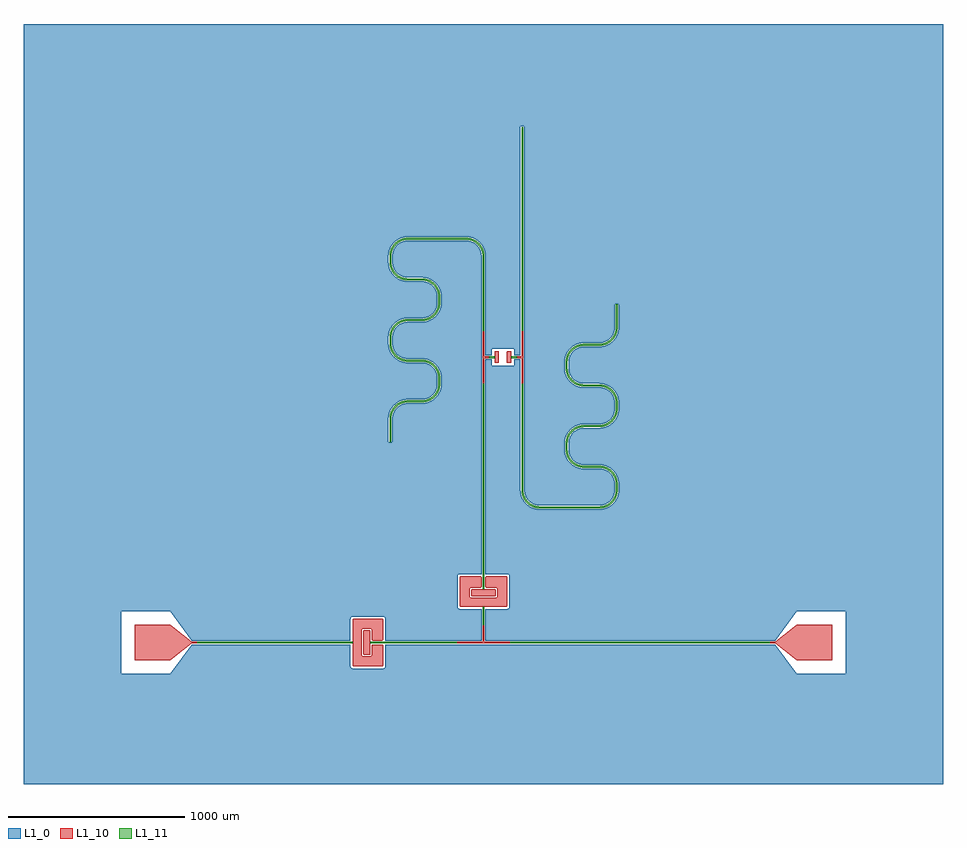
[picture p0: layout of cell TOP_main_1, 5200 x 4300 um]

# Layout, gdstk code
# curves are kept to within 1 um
import gdstk
lib = gdstk.Library(unit=1e-6, precision=1e-09)
def R(c, l, rs):  # rectangles x0, y0, x1, y1
    for r in rs: c.add(gdstk.rectangle(r[:2], r[2:], *l))
def P(c, l, *ps):  # polygons
    for p in ps: c.add(gdstk.Polygon(p, *l))
L1_0 = (1, 0)
L1_10 = (1, 10)
L1_11 = (1, 11)

ground_main_1 = lib.new_cell('ground_main_1')
R(ground_main_1, L1_0, [(-518.719,-800,-491.847,-11), (-491.847,-800,-445.47,-11), (-445.47,-800,-308.285,-11), (-308.285,-800,-263.265,-11), (-263.265,-800,-69.572,-11), (-69.572,-800,173.264,-11), (173.264,-800,467.953,-11), (467.953,-800,507.269,-11), (507.269,-800,569,-11), (569,-800,703.86,-11), (703.86,-800,739.002,-11), (-69.572,11,-11,190), (467.953,11,507.269,754), (507.269,11,569,754), (-308.285,2296,-263.265,3500)])
P(ground_main_1, L1_0, [(739.754,840.369),(741.545,848.138),(742.826,858.687),(742.986,896),(741.984,909.241),(739.002,922.18),(739.002,837.82)],
  [(-517.014,2250.173),(-505.455,2263.782),(-491.847,2275.341),(-491.847,3500),(-518.719,3500),(-518.719,2247.731)],
  [(-491.847,2246.211),(-502.982,2231.526),(-509.955,2217.205),(-514.232,2201.862),(-515.674,2186),(-515.513,2148.687),(-513.117,2132.94),(-505.594,2113.104),(-491.847,2093.789)],
  [(-517.014,1790.173),(-505.455,1803.782),(-491.847,1815.341),(-491.847,2064.659),(-507.533,2078.353),(-518.719,2092.269),(-518.719,1787.731)],
  [(-491.847,1786.211),(-502.982,1771.526),(-509.955,1757.205),(-514.232,1741.862),(-515.674,1726),(-515.513,1688.687),(-513.117,1672.94),(-505.594,1653.104),(-491.847,1633.789)],
  [(-517.014,1330.173),(-505.455,1343.782),(-491.847,1355.341),(-491.847,1604.659),(-507.533,1618.353),(-518.719,1632.269),(-518.719,1327.731)],
  [(-491.847,1326.211),(-506.793,1304.524),(-511.689,1292.18),(-514.672,1279.241),(-515.674,1135),(-518.719,1135),(-518.719,11),(-491.847,11)],
  [(-489.404,2277.046),(-468.389,2288.187),(-445.47,2294.551),(-445.47,3500),(-491.847,3500),(-491.847,2275.341)],
  [(-445.47,2272.174),(-458.879,2268.281),(-470.904,2262.649),(-481.945,2255.272),(-491.847,2246.211),(-491.847,2093.789),(-481.945,2084.728),(-470.904,2077.351),(-458.879,2071.719),(-445.47,2067.826)],
  [(-489.404,1817.046),(-468.389,1828.187),(-445.47,1834.551),(-445.47,2045.449),(-468.389,2051.813),(-491.847,2064.659),(-491.847,1815.341)],
  [(-445.47,1812.174),(-458.879,1808.281),(-470.904,1802.649),(-481.945,1795.272),(-491.847,1786.211),(-491.847,1633.789),(-481.945,1624.728),(-470.904,1617.351),(-458.879,1611.719),(-445.47,1607.826)],
  [(-489.404,1357.046),(-468.389,1368.187),(-445.47,1374.551),(-445.47,1585.449),(-468.389,1591.813),(-491.847,1604.659),(-491.847,1355.341)],
  [(-445.47,1352.174),(-458.879,1348.281),(-470.904,1342.649),(-481.945,1335.272),(-491.847,1326.211),(-491.847,11),(-445.47,11)],
  [(-442.524,2294.993),(-439.567,2295.355),(-436.601,2295.637),(-433.629,2295.839),(-430.652,2295.96),(-427.674,2296),(-308.285,2296),(-308.285,3500),(-445.47,3500),(-445.47,2294.551)],
  [(-308.285,2274),(-427.674,2274),(-445.47,2272.174),(-445.47,2067.826),(-430.332,2066.04),(-340.073,2065.637),(-322.453,2062.749),(-308.285,2058.187)],
  [(-442.524,1834.993),(-341.036,1836.361),(-325.369,1839.232),(-308.285,1845.989),(-308.285,2034.011),(-325.369,2040.768),(-341.036,2043.639),(-430.652,2044.04),(-445.47,2045.449),(-445.47,1834.551)],
  [(-308.285,1821.813),(-322.453,1817.251),(-340.073,1814.363),(-430.332,1813.96),(-445.47,1812.174),(-445.47,1607.826),(-430.332,1606.04),(-340.073,1605.637),(-322.453,1602.749),(-308.285,1598.187)],
  [(-442.524,1374.993),(-341.036,1376.361),(-325.369,1379.232),(-308.285,1385.989),(-308.285,1574.011),(-325.369,1580.768),(-341.036,1583.639),(-430.652,1584.04),(-445.47,1585.449),(-445.47,1374.551)],
  [(-308.285,1361.813),(-322.453,1357.251),(-340.073,1354.363),(-430.332,1353.96),(-445.47,1352.174),(-445.47,11),(-308.285,11)],
  [(-263.265,2274),(-308.285,2274),(-308.285,2058.187),(-284.827,2045.341),(-273.353,2035.86),(-263.265,2024.916)],
  [(-308.104,1846.08),(-294.729,1854.728),(-283.131,1865.645),(-273.691,1878.474),(-265.814,1895.294),(-263.265,1904.21),(-263.265,1975.79),(-269.88,1994.524),(-279.728,2010.271),(-292.661,2023.601),(-308.285,2034.011)],
  [(-263.265,1855.084),(-273.353,1844.14),(-284.827,1834.659),(-308.285,1821.813),(-308.285,1598.187),(-284.827,1585.341),(-273.353,1575.86),(-263.265,1564.916)],
  [(-308.104,1386.08),(-294.729,1394.728),(-283.131,1405.645),(-273.691,1418.474),(-265.814,1435.294),(-263.265,1444.21),(-263.265,1515.79),(-269.88,1534.524),(-279.728,1550.271),(-292.661,1563.601),(-308.285,1574.011)],
  [(-263.265,1395.084),(-273.353,1384.14),(-284.827,1374.659),(-308.285,1361.813),(-308.285,11),(-263.265,11)],
  [(-69.572,3500),(-263.265,3500),(-263.265,2296),(-96.021,2295.96),(-69.572,2291.99)],
  [(-69.572,190),(-137.341,190.231),(-144.276,194.387),(-147,202),(-146.087,379.592),(-141.667,384.978),(-136.176,386.942),(-69.572,387),(-69.572,2268.925),(-83.138,2272.559),(-96.342,2273.96),(-263.265,2274),(-263.265,2024.916),(-253.245,2010.138),(-245.747,1993.933),(-240.449,1973.796),(-239,1956),(-239.161,1918.045),(-242.251,1897.453),(-250.454,1875.126),(-263.265,1855.084),(-263.265,1564.916),(-253.245,1550.138),(-245.747,1533.933),(-240.449,1513.796),(-239,1496),(-239.161,1458.045),(-242.251,1437.453),(-250.454,1415.126),(-263.265,1395.084),(-263.265,11),(-69.572,11)],
  [(-262.96,1905.53),(-261.642,1913.393),(-261.04,1921.342),(-261,1956),(-261.642,1966.607),(-263.265,1975.79),(-263.265,1904.21)],
  [(-262.96,1445.53),(-261.642,1453.393),(-261.04,1461.342),(-261,1496),(-261.642,1506.607),(-263.265,1515.79),(-263.265,1444.21)],
  [(46.5,1661.5),(48.5,1663.5),(171.5,1663.5),(173.264,1662.443),(173.264,3500),(-69.572,3500),(-69.572,2291.99),(-55.533,2287.047),(-42.289,2280.254),(-27.788,2269.838),(-17.121,2259.457),(-7.954,2247.731),(-0.454,2234.874),(5.242,2221.123),(9.029,2206.729),(11,2186),(11,1626),(46.5,1626)],
  [(-11,387),(-11.04,2188.658),(-12.441,2201.862),(-15.814,2214.706),(-21.08,2226.896),(-28.12,2238.154),(-36.775,2248.225),(-46.846,2256.88),(-69.572,2268.925),(-69.572,387)],
  [(173.264,1567.557),(171.5,1566.5),(48.11,1566.538),(46.5,1568.5),(46.5,1604),(11,1604),(11,387),(136.176,386.942),(144.276,382.613),(147,375),(147,202),(144.978,195.333),(140.657,191.417),(135,190),(11,190),(11,11),(173.264,11)],
  [(467.953,1050.533),(461.572,1070.353),(459,1094),(459.645,1137.893),(462.251,1152.547),(467.953,1169.467),(467.953,1510.533),(461.572,1530.353),(459,1554),(459.645,1597.893),(462.251,1612.547),(467.953,1629.467),(467.953,3500),(173.264,3500),(173.5,1626),(209,1626),(209,2921),(231,2921),(231.642,853.393),(234.232,840.369),(238.753,827.884),(251.399,807.661),(269.01,791.577),(280.476,784.88),(292.82,779.985),(316.342,776.04),(467.953,776)],
  [(467.953,754),(316.021,754.04),(301.204,755.449),(286.713,758.845),(262.289,769.746),(243.353,784.14),(226.316,804.758),(214.758,828.877),(210.449,846.204),(209,864),(209,1604),(173.5,1604),(173.264,11),(467.953,11)],
  [(469.167,1632.188),(476.316,1645.242),(485.162,1657.212),(495.543,1667.879),(507.269,1677.046),(507.269,3500),(467.953,3500),(467.953,1629.467)],
  [(507.269,1648.705),(496.577,1635.99),(487.699,1619.676),(482.441,1601.862),(481,1586),(481.161,1548.687),(484.232,1530.369),(493.691,1508.474),(507.269,1491.295)],
  [(469.167,1172.188),(476.316,1185.242),(485.162,1197.212),(495.543,1207.879),(507.269,1217.046),(507.269,1462.954),(495.543,1472.121),(485.162,1482.788),(474.746,1497.289),(467.953,1510.533),(467.953,1169.467)],
  [(507.269,1188.705),(496.577,1175.99),(487.699,1159.676),(482.441,1141.862),(481,1126),(481.161,1088.687),(484.232,1070.369),(493.691,1048.474),(507.269,1031.295)],
  [(507.269,1002.954),(495.543,1012.121),(485.162,1022.788),(474.746,1037.289),(467.953,1050.533),(467.953,776),(507.269,776)],
  [(509.758,1678.684),(522.812,1685.833),(536.713,1691.155),(551.204,1694.551),(569,1696),(569,3500),(507.269,3500),(507.269,1677.046)],
  [(569,1674),(553.138,1672.559),(535.324,1667.301),(521.22,1659.899),(507.269,1648.705),(507.269,1491.295),(521.22,1480.101),(535.324,1472.699),(553.138,1467.441),(569,1466)],
  [(509.758,1218.684),(522.812,1225.833),(536.713,1231.155),(551.204,1234.551),(569,1236),(569,1444),(551.204,1445.449),(536.713,1448.845),(520.126,1455.454),(507.269,1462.954),(507.269,1217.046)],
  [(569,1214),(553.138,1212.559),(535.324,1207.301),(521.22,1199.899),(507.269,1188.705),(507.269,1031.295),(521.22,1020.101),(535.324,1012.699),(553.138,1007.441),(569,1006)],
  [(569,984),(551.204,985.449),(536.713,988.845),(520.126,995.454),(507.269,1002.954),(507.269,776),(569,776)],
  [(654.986,1696),(668.227,1697.002),(681.166,1699.985),(703.86,1710.832),(703.86,3500),(569,3500),(569,1696)],
  [(703.86,1685.454),(684.414,1678.01),(663.914,1674.363),(569,1674),(569,1466),(663.914,1465.637),(684.414,1461.99),(703.86,1454.546)],
  [(654.986,1236),(668.227,1237.002),(681.166,1239.985),(703.86,1250.832),(703.86,1429.168),(686.191,1438.281),(665.593,1443.358),(569,1444),(569,1236)],
  [(703.86,1225.454),(684.414,1218.01),(663.914,1214.363),(569,1214),(569,1006),(663.914,1005.637),(684.414,1001.99),(703.86,994.546)],
  [(657.644,776.04),(681.166,779.985),(703.86,790.832),(703.86,969.168),(686.191,978.281),(665.593,983.358),(569,984),(569,776)],
  [(703.86,765.454),(684.414,758.01),(663.914,754.363),(569,754),(569,11),(703.86,11)],
  [(704.976,1711.577),(717.212,1721.775),(725.866,1731.846),(734.106,1745.476),(739.002,1757.82),(739.002,3500),(703.86,3500),(703.86,1710.832)],
  [(739.002,1713.002),(723.902,1698.265),(703.86,1685.454),(703.86,1454.546),(723.902,1441.735),(739.002,1426.998)],
  [(704.976,1251.577),(717.212,1261.775),(725.866,1271.846),(734.106,1285.476),(739.002,1297.82),(739.002,1382.18),(734.106,1394.524),(725.866,1408.154),(715.304,1420.076),(703.86,1429.168),(703.86,1250.832)],
  [(739.002,1253.002),(723.902,1238.265),(703.86,1225.454),(703.86,994.546),(723.902,981.735),(739.002,966.998)],
  [(704.976,791.577),(717.212,801.775),(725.866,811.846),(734.106,825.476),(739.002,837.82),(739.002,922.18),(734.106,934.524),(725.866,948.154),(715.304,960.076),(703.86,969.168),(703.86,790.832)],
  [(739.002,793.002),(723.902,778.265),(703.86,765.454),(703.86,11),(739.002,11)],
  [(740.429,1762.94),(742.946,1781.342),(742.986,1915),(764.986,1915),(763.979,1769.15),(760.977,1754.572),(756.034,1740.533),(749.24,1727.289),(739.002,1713.002),(739.002,1426.998),(750.742,1410.138),(758.239,1393.933),(763.537,1373.796),(764.986,1356),(764.825,1318.045),(761.735,1297.453),(753.532,1275.126),(739.002,1253.002),(739.002,966.998),(753.532,944.874),(761.735,922.547),(764.825,901.955),(764.986,864),(763.537,846.204),(758.239,826.067),(750.742,809.862),(739.002,793.002),(739.002,11),(1650,11),(1772,176.5),(2048.5,176.5),(2048.5,-176.5),(1772,-176.5),(1650,-11),(739.002,-11),(739.002,-800),(2600,-800),(2600,3500),(739.002,3500),(739.002,1757.82)],
  [(739.754,1300.369),(741.545,1308.138),(742.826,1318.687),(742.986,1356),(741.984,1369.241),(739.002,1382.18),(739.002,1297.82)],
  [(-518.719,-11),(-555.5,-11),(-555.558,-136.176),(-559.015,-143.485),(-566.324,-146.942),(-740.5,-147),(-747.167,-144.978),(-751.083,-140.657),(-752.5,-135),(-752.5,-11),(-1650,-11),(-1772,-176.5),(-2048.5,-176.5),(-2048.5,176.5),(-1772,176.5),(-1650,11),(-752.5,11),(-752.5,135),(-751.083,140.657),(-747.167,144.978),(-740.5,147),(-566.324,146.942),(-559.015,143.485),(-555.558,136.176),(-555.5,11),(-518.719,11),(-518.719,1135),(-537.674,1135),(-537.512,1271.955),(-534.422,1292.547),(-527.507,1312.188),(-2600,1312.188),(-2600,-800),(-518.719,-800)],
  [(-526.22,1314.874),(-518.719,1327.731),(-518.719,1632.269),(-529.861,1653.285),(-535.703,1673.271),(-537.633,1691.021),(-537.674,1726),(-536.225,1743.796),(-532.828,1758.287),(-526.22,1774.874),(-518.719,1787.731),(-518.719,2092.269),(-529.861,2113.285),(-535.703,2133.271),(-537.633,2151.021),(-537.674,2186),(-536.225,2203.796),(-532.828,2218.287),(-526.22,2234.874),(-518.719,2247.731),(-518.719,3500),(-2600,3500),(-2600,1312.188),(-527.507,1312.188)])

top_main_1 = lib.new_cell('TOP_main_1')
P(top_main_1, L1_10, [(-1650,5),(-1772,100),(-1972,100),(-1972,-100),(-1772,-100),(-1650,-5),(-1620,-5),(-1620,5),(-1650,5)],
  [(1650,-5),(1772,-100),(1972,-100),(1972,100),(1772,100),(1650,5),(1620,5),(1620,-5),(1650,-5)],
  [(-672.5,-70),(-678.157,-67.657),(-680.461,-62.784),(-680.346,63.561),(-678.157,67.657),(-674.061,69.846),(-645.939,69.846),(-641.316,67.075),(-639.5,62),(-639.654,-63.561),(-641.843,-67.657),(-645.939,-69.846)],
  [(-575.402,-134.995),(-569.989,-132.789),(-567.505,-127.098),(-567.505,-18.902),(-570.583,-12.699),(-575.598,-11),(-627.44,-12.046),(-631.471,-18.412),(-631.5,-70),(-633.316,-75.075),(-638.716,-77.961),(-680.5,-78),(-686.157,-75.657),(-688.461,-70.784),(-688.5,-11),(-740.5,-11),(-740.5,-126.902),(-737.417,-133.301),(-732.402,-135)],
  [(-688.5,70),(-686.157,75.657),(-681.284,77.961),(-635.729,77.055),(-631.539,70.784),(-631.495,18.902),(-629.289,13.489),(-623.598,11.005),(-571.906,11.861),(-568.747,14.724),(-567.505,18.902),(-568.361,130.594),(-571.224,133.753),(-575.598,135),(-736.094,134.139),(-739.253,131.276),(-740.495,127.098),(-740.5,-11),(-688.5,-11)],
  [(150,-5),(-150,-5),(-150,5),(-5,5),(-5,100),(5,100),(5,5),(150,5),(150,-5)],
  [(70,270),(67.657,264.343),(62.784,262.039),(-63.561,262.154),(-67.657,264.343),(-69.846,268.439),(-69.846,296.561),(-67.075,301.184),(-62,303),(63.561,302.846),(67.657,300.657),(69.846,296.561)],
  [(11,254),(-70.784,254.039),(-75.657,256.343),(-77.846,260.439),(-77.961,303.784),(-75.075,309.184),(-70,311),(-18.412,311.029),(-12.046,315.06),(-11.005,367.098),(-14.083,373.301),(-19.098,375),(-126.902,375),(-133.301,371.917),(-135,366.902),(-135,210.098),(-131.917,203.699),(-126.902,202),(11,202)],
  [(127.098,202.005),(132.511,204.211),(134.995,209.902),(135,366.902),(133.753,371.276),(130.94,373.954),(126.902,375),(19.098,375),(14.724,373.753),(11.005,367.098),(12.046,315.06),(18.412,311.029),(70,311),(75.075,309.184),(77.961,303.784),(78,262),(75.657,256.343),(70.784,254.039),(11,254),(11,202)],
  [(-5,1465),(-5,1765),(5,1765),(5,1620),(32.5,1620),(32.5,1610),(5,1610),(5,1465),(-5,1465)],
  [(187.5,1620),(215,1620),(215,1765),(225,1765),(225,1465),(215,1465),(215,1610),(187.5,1610),(187.5,1620)],
  [(64.5,1582.5),(62.5,1584.5),(62.586,1646.081),(64.304,1647.49),(86.081,1647.414),(87.5,1645.5),(87.414,1583.919),(85.696,1582.51)],
  [(134.5,1582.5),(132.5,1584.5),(132.586,1646.081),(134.304,1647.49),(156.081,1647.414),(157.5,1645.5),(157.414,1583.919),(155.696,1582.51)])
R(top_main_1, L1_11, [(-1620,-5,-792.5,5), (-792.5,-5,-740.499,5), (-639.501,-5,-527.5,5), (-527.5,-5,-150,5), (150,-5,1620,5), (-5,100,5,150), (-5,150,5,202.001), (-5,302.999,5,415), (-5,415,5,1465), (215,1009.999,225,1226.076), (215,1226.076,225,1443.065), (215,1443.065,225,1465), (32.5,1610,52.5,1620), (52.5,1610,62.501,1620), (157.499,1610,167.5,1620), (167.5,1610,187.5,1620), (-5,1765,5,1824.365), (215,1765,225,2915), (-5,1824.365,5,2040.001)])
P(top_main_1, L1_11, [(-521.674,1266),(-518.471,1290.329),(-509.08,1313),(-494.142,1332.468),(-474.674,1347.406),(-457.241,1355.229),(-438.586,1359.364),(-343.271,1360.158),(-317.954,1364.742),(-299.501,1372.535),(-282.885,1383.721),(-268.721,1397.885),(-257.456,1414.652),(-268.995,1414.652),(-278.78,1401.509),(-290.698,1390.265),(-304.388,1381.261),(-319.433,1374.771),(-343.534,1370.159),(-430.539,1369.961),(-447.612,1368.071),(-464.14,1363.397),(-479.674,1356.067),(-491.552,1348.071),(-504.189,1336.437),(-514.739,1322.883),(-522.914,1307.776),(-528.491,1291.53),(-531.318,1274.588),(-531.674,1135),(-521.674,1135)],
  [(-256.206,1417.041),(-248.924,1435.701),(-245.631,1452.559),(-245,1496),(-246.418,1513.118),(-250.635,1529.769),(-258.933,1548),(-270.573,1564.302),(-282.885,1576.279),(-304.615,1590.053),(-317.954,1595.258),(-331.882,1598.582),(-346.134,1599.961),(-433.139,1600.159),(-449.352,1602.534),(-466.794,1608.535),(-486.934,1608.535),(-464.14,1596.603),(-441.958,1590.986),(-346.266,1589.96),(-329.992,1588.058),(-309.274,1581.193),(-288.578,1568.008),(-278.78,1558.491),(-268.995,1545.348),(-261.641,1530.705),(-256.942,1515.008),(-255.04,1498.734),(-255.636,1453.087),(-259.771,1434.433),(-268.995,1414.652),(-257.456,1414.652)],
  [(-467.4,1608.807),(-485.976,1620.265),(-501.409,1635.698),(-512.867,1654.274),(-519.732,1674.992),(-521.634,1691.266),(-520.681,1739.624),(-515.032,1760.705),(-504.674,1779.916),(-494.142,1792.468),(-479.328,1804.536),(-464.905,1812.312),(-449.352,1817.466),(-430.408,1819.96),(-343.271,1820.158),(-319.22,1824.365),(-461.442,1824.365),(-477.172,1817.465),(-491.552,1808.071),(-502.219,1798.519),(-513.139,1785.26),(-519.139,1775.499),(-525.071,1762.466),(-530.688,1740.285),(-531.634,1691.134),(-528.491,1668.47),(-524.029,1654.864),(-517.74,1642),(-509.744,1630.122),(-500.193,1619.455),(-486.934,1608.535)],
  [(-317.954,1824.742),(-304.615,1829.947),(-292.117,1836.935),(-280.698,1845.573),(-270.573,1855.698),(-261.935,1867.117),(-254.947,1879.615),(-248.924,1895.701),(-245.986,1909.715),(-245.158,1961.729),(-249.742,1987.046),(-256.206,2002.959),(-265.2,2017.592),(-276.481,2030.545),(-287.69,2040.001),(-306.813,2040.001),(-286.509,2026.22),(-270.464,2007.654),(-259.771,1985.567),(-255.159,1961.466),(-255.04,1921.266),(-256.942,1904.992),(-263.807,1884.274),(-275.265,1865.698),(-284.493,1855.627),(-297.346,1845.464),(-311.769,1837.688),(-327.322,1832.534),(-346.266,1830.04),(-433.403,1829.842),(-447.612,1828.071),(-461.442,1824.365)],
  [(-289.74,2041.465),(-309.864,2052.355),(-329.062,2058.071),(-346.134,2059.961),(-438.586,2060.636),(-462.379,2066.641),(-481.59,2077),(-492.18,2085.627),(-501.409,2095.698),(-510.413,2109.388),(-516.005,2121.85),(-520.246,2137.677),(-521.634,2151.266),(-521.515,2191.466),(-518.871,2208.743),(-529.157,2208.743),(-531.516,2191.729),(-531.634,2151.134),(-530.255,2136.882),(-526.932,2122.954),(-520.468,2107.041),(-511.473,2092.408),(-500.193,2079.455),(-486.934,2068.535),(-464.14,2056.603),(-441.958,2050.986),(-343.534,2049.841),(-324.671,2046.797),(-306.813,2040.001),(-287.69,2040.001)],
  [(5,2186),(2.483,2208.743),(-7.803,2208.743),(-5.04,2188.734),(-5,2040.001),(5,2040.001)],
  [(1.818,2211.53),(-2.645,2225.136),(-8.933,2238),(-16.929,2249.878),(-26.481,2260.545),(-37.408,2269.8),(-49.501,2277.465),(-65.231,2284.365),(-79.062,2288.071),(-99,2290),(-427.674,2290),(-444.792,2288.582),(-461.442,2284.365),(-477.172,2277.465),(-491.552,2268.071),(-504.189,2256.437),(-514.739,2242.883),(-524.029,2225.136),(-529.157,2208.743),(-518.871,2208.743),(-512.867,2225.726),(-504.674,2239.916),(-494.142,2252.468),(-481.59,2263),(-469.861,2270.001),(-457.241,2275.229),(-441.297,2279.008),(-427.674,2280),(-85.376,2279.008),(-61.769,2272.312),(-40.698,2259.735),(-30.627,2250.507),(-20.464,2237.654),(-12.688,2223.231),(-7.803,2208.743),(2.483,2208.743)],
  [(657.852,760.039),(674.924,761.929),(691.452,766.603),(706.986,773.933),(721.101,783.721),(733.413,795.698),(743.586,809.538),(751.342,824.864),(756.469,841.257),(746.184,841.257),(740.179,824.274),(731.986,810.084),(721.454,797.532),(708.902,787),(697.173,779.999),(684.553,774.771),(668.61,770.992),(654.986,770),(319,770),(302.677,771.428),(279.274,778.807),(258.578,791.992),(248.78,801.509),(238.995,814.652),(232.688,826.769),(227.803,841.257),(217.517,841.257),(221.603,827.534),(228.933,812),(236.929,800.122),(246.481,789.455),(257.408,780.2),(269.501,772.535),(285.231,765.635),(299.062,761.929),(319,760)],
  [(227.534,842.322),(225.04,861.266),(225,1009.999),(215,1009.999),(215.355,855.412),(217.517,841.257),(227.803,841.257)],
  [(757.057,844.062),(758.947,861.134),(758.947,898.866),(757.568,913.118),(754.244,927.046),(747.781,942.959),(737.057,959.878),(725.423,972.515),(711.869,983.065),(691.452,993.397),(669.271,999.014),(563.534,1000.159),(544.671,1003.203),(526.813,1009.999),(507.69,1009.999),(529.864,997.645),(551.882,991.418),(566.134,990.039),(665.899,989.364),(687.136,984.331),(706.64,974.536),(719.493,964.373),(728.721,954.302),(736.393,943),(742.345,930.705),(747.044,915.008),(748.946,898.734),(748.827,858.534),(746.184,841.257),(756.469,841.257)],
  [(524.388,1011.261),(508.578,1021.992),(493.6,1037.867),(482.688,1056.769),(476.428,1077.677),(475,1094),(475.04,1128.734),(476.428,1142.323),(483.807,1165.726),(495.265,1184.302),(506.509,1196.22),(519.652,1206.005),(534.295,1213.359),(549.992,1218.058),(566.266,1219.96),(660.715,1220.158),(674.924,1221.929),(689.984,1226.076),(540.701,1226.076),(524.615,1220.053),(509.74,1211.465),(496.481,1200.545),(486.929,1189.878),(473.76,1167.776),(466.418,1143.118),(465.039,1128.866),(465.039,1091.134),(467.517,1071.257),(471.603,1057.534),(477.535,1044.501),(485.2,1032.408),(494.455,1021.481),(507.69,1009.999),(526.813,1009.999)],
  [(691.452,1226.603),(704.485,1232.535),(716.579,1240.2),(727.505,1249.455),(737.057,1260.122),(745.053,1272),(751.342,1284.864),(755.804,1298.47),(758.631,1315.412),(758.631,1364.588),(756.469,1378.743),(752.383,1392.466),(745.053,1408),(737.057,1419.878),(725.423,1432.515),(711.869,1443.065),(690.4,1443.065),(701.986,1437.406),(713.288,1429.735),(723.359,1420.507),(730.386,1412.133),(736.393,1403),(742.345,1390.705),(746.452,1377.678),(748.628,1364.193),(748.946,1321.266),(747.044,1304.992),(740.179,1284.274),(728.721,1265.698),(717.477,1253.78),(704.334,1243.995),(689.692,1236.641),(673.995,1231.942),(657.72,1230.04),(563.271,1229.842),(540.701,1226.076)],
  [(709.448,1444.6),(688.755,1454.365),(666.427,1459.369),(566.266,1460.04),(552.677,1461.428),(529.274,1468.807),(508.578,1481.992),(498.78,1491.509),(488.995,1504.652),(481.641,1519.295),(476.942,1534.992),(475.04,1551.266),(475.636,1596.913),(479.771,1615.567),(488.995,1635.348),(477.456,1635.348),(469.742,1617.046),(465.631,1597.441),(465,1554),(466.418,1536.882),(470.635,1520.231),(478.933,1502),(490.573,1485.698),(502.885,1473.721),(514.538,1465.4),(527.224,1458.76),(540.701,1453.924),(554.715,1450.986),(657.72,1449.96),(673.995,1448.058),(690.4,1443.065),(711.869,1443.065)],
  [(490.464,1637.654),(500.627,1650.507),(512.867,1661.4),(526.813,1670.001),(542.04,1676.051),(563.534,1679.841),(657.852,1680.039),(674.924,1681.929),(688.755,1685.635),(704.485,1692.535),(716.579,1700.2),(729.532,1711.481),(740.451,1724.74),(747.781,1737.041),(754.244,1752.954),(758,1769.715),(758.986,1915),(748.986,1915),(748.986,1784),(747.558,1767.677),(744.215,1754.433),(738.988,1741.813),(731.986,1730.084),(723.359,1719.493),(711.119,1708.6),(699.599,1701.261),(684.553,1694.771),(671.309,1691.428),(657.72,1690.04),(563.271,1689.842),(549.062,1688.071),(535.231,1684.365),(514.538,1674.6),(494.455,1658.519),(485.2,1647.592),(477.456,1635.348),(488.995,1635.348)])
top_main_1.add(gdstk.Reference(ground_main_1, (0,0)))

lib.write_gds('TOP_main_1.gds')
